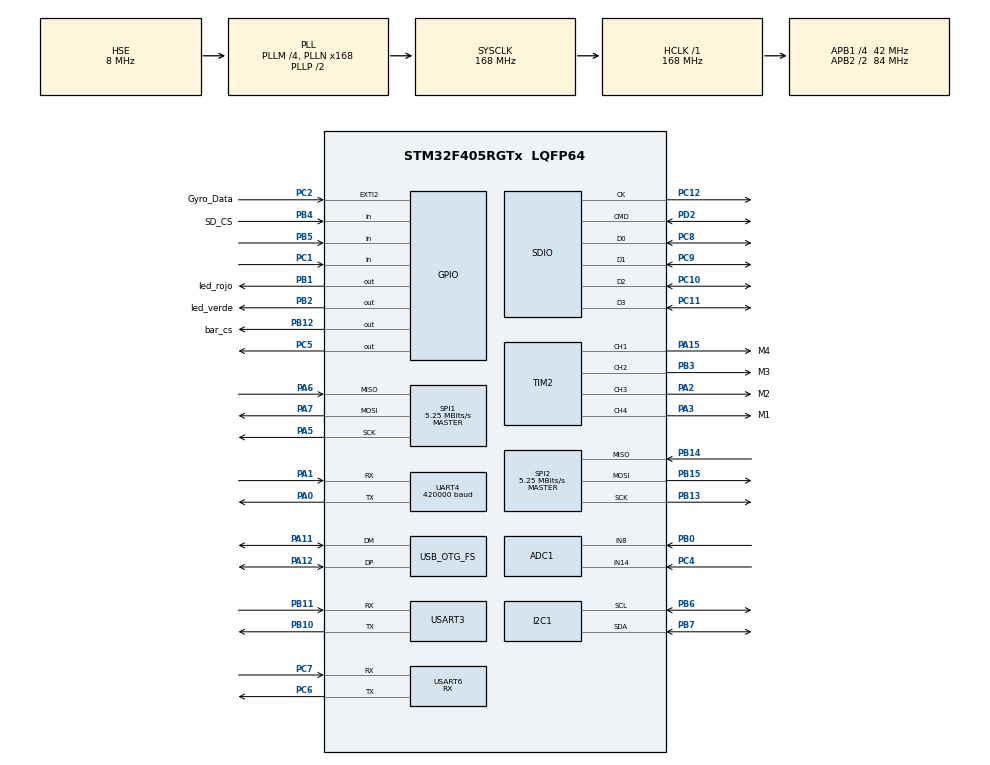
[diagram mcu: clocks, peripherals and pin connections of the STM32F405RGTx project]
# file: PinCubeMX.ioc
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ADC1.Channel-6\#ChannelRegularConversion=ADC_CHANNEL_8
ADC1.NbrOfConversionFlag=1
ADC1.Rank-6\#ChannelRegularConversion=1
ADC1.SamplingTime-6\#ChannelRegularConversion=ADC_SAMPLETIME_3CYCLES
ADC1.master=1
Dma.Request0=TIM2_UP/CH3
Dma.Request1=SPI1_RX
Dma.Request2=SPI1_TX
Dma.Request3=SDIO_RX
Dma.Request4=SDIO_TX
Dma.Request5=TIM1_CH2
Dma.Request6=TIM1_CH4/TRIG/COM
Dma.SDIO_RX.3.Direction=DMA_PERIPH_TO_MEMORY
Dma.SDIO_RX.3.FIFOMode=DMA_FIFOMODE_ENABLE
Dma.SDIO_RX.3.FIFOThreshold=DMA_FIFO_THRESHOLD_FULL
Dma.SDIO_RX.3.Instance=DMA2_Stream6
Dma.SDIO_RX.3.MemBurst=DMA_MBURST_INC4
Dma.SDIO_RX.3.MemDataAlignment=DMA_MDATAALIGN_WORD
Dma.SDIO_RX.3.MemInc=DMA_MINC_ENABLE
Dma.SDIO_RX.3.Mode=DMA_PFCTRL
Dma.SDIO_RX.3.PeriphBurst=DMA_PBURST_INC4
Dma.SDIO_RX.3.PeriphDataAlignment=DMA_PDATAALIGN_WORD
Dma.SDIO_RX.3.PeriphInc=DMA_PINC_DISABLE
Dma.SDIO_RX.3.Priority=DMA_PRIORITY_LOW
Dma.SDIO_TX.4.Direction=DMA_MEMORY_TO_PERIPH
Dma.SDIO_TX.4.FIFOMode=DMA_FIFOMODE_ENABLE
Dma.SDIO_TX.4.FIFOThreshold=DMA_FIFO_THRESHOLD_FULL
Dma.SDIO_TX.4.Instance=DMA2_Stream3
Dma.SDIO_TX.4.MemBurst=DMA_MBURST_INC4
Dma.SDIO_TX.4.MemDataAlignment=DMA_MDATAALIGN_WORD
Dma.SDIO_TX.4.MemInc=DMA_MINC_ENABLE
Dma.SDIO_TX.4.Mode=DMA_PFCTRL
Dma.SDIO_TX.4.PeriphBurst=DMA_PBURST_INC4
Dma.SDIO_TX.4.PeriphDataAlignment=DMA_PDATAALIGN_WORD
Dma.SDIO_TX.4.PeriphInc=DMA_PINC_DISABLE
Dma.SDIO_TX.4.Priority=DMA_PRIORITY_LOW
Dma.SPI1_RX.1.Direction=DMA_PERIPH_TO_MEMORY
Dma.SPI1_RX.1.FIFOMode=DMA_FIFOMODE_DISABLE
Dma.SPI1_RX.1.Instance=DMA2_Stream0
Dma.SPI1_RX.1.MemDataAlignment=DMA_MDATAALIGN_BYTE
Dma.SPI1_RX.1.MemInc=DMA_MINC_ENABLE
Dma.SPI1_RX.1.Mode=DMA_NORMAL
Dma.SPI1_RX.1.PeriphDataAlignment=DMA_PDATAALIGN_BYTE
Dma.SPI1_RX.1.PeriphInc=DMA_PINC_DISABLE
Dma.SPI1_RX.1.Priority=DMA_PRIORITY_HIGH
Dma.SPI1_TX.2.Direction=DMA_MEMORY_TO_PERIPH
Dma.SPI1_TX.2.FIFOMode=DMA_FIFOMODE_DISABLE
Dma.SPI1_TX.2.Instance=DMA2_Stream5
Dma.SPI1_TX.2.MemDataAlignment=DMA_MDATAALIGN_BYTE
Dma.SPI1_TX.2.MemInc=DMA_MINC_ENABLE
Dma.SPI1_TX.2.Mode=DMA_NORMAL
Dma.SPI1_TX.2.PeriphDataAlignment=DMA_PDATAALIGN_BYTE
Dma.SPI1_TX.2.PeriphInc=DMA_PINC_DISABLE
Dma.SPI1_TX.2.Priority=DMA_PRIORITY_HIGH
Dma.TIM1_CH2.5.Direction=DMA_MEMORY_TO_PERIPH
Dma.TIM1_CH2.5.FIFOMode=DMA_FIFOMODE_DISABLE
Dma.TIM1_CH2.5.Instance=DMA2_Stream2
Dma.TIM1_CH2.5.MemDataAlignment=DMA_MDATAALIGN_WORD
Dma.TIM1_CH2.5.MemInc=DMA_MINC_ENABLE
Dma.TIM1_CH2.5.Mode=DMA_NORMAL
Dma.TIM1_CH2.5.PeriphDataAlignment=DMA_PDATAALIGN_WORD
Dma.TIM1_CH2.5.PeriphInc=DMA_PINC_DISABLE
Dma.TIM1_CH2.5.Priority=DMA_PRIORITY_VERY_HIGH
Dma.TIM1_CH4/TRIG/COM.6.Direction=DMA_MEMORY_TO_PERIPH
Dma.TIM1_CH4/TRIG/COM.6.FIFOMode=DMA_FIFOMODE_DISABLE
Dma.TIM1_CH4/TRIG/COM.6.Instance=DMA2_Stream4
Dma.TIM1_CH4/TRIG/COM.6.MemDataAlignment=DMA_MDATAALIGN_WORD
Dma.TIM1_CH4/TRIG/COM.6.MemInc=DMA_MINC_ENABLE
Dma.TIM1_CH4/TRIG/COM.6.Mode=DMA_NORMAL
Dma.TIM1_CH4/TRIG/COM.6.PeriphDataAlignment=DMA_PDATAALIGN_WORD
Dma.TIM1_CH4/TRIG/COM.6.PeriphInc=DMA_PINC_DISABLE
Dma.TIM1_CH4/TRIG/COM.6.Priority=DMA_PRIORITY_VERY_HIGH
Dma.TIM2_UP/CH3.0.Direction=DMA_MEMORY_TO_PERIPH
Dma.TIM2_UP/CH3.0.FIFOMode=DMA_FIFOMODE_DISABLE
Dma.TIM2_UP/CH3.0.Instance=DMA1_Stream1
Dma.TIM2_UP/CH3.0.MemDataAlignment=DMA_MDATAALIGN_WORD
Dma.TIM2_UP/CH3.0.MemInc=DMA_MINC_ENABLE
Dma.TIM2_UP/CH3.0.Mode=DMA_NORMAL
Dma.TIM2_UP/CH3.0.PeriphDataAlignment=DMA_PDATAALIGN_WORD
Dma.TIM2_UP/CH3.0.PeriphInc=DMA_PINC_DISABLE
Dma.TIM2_UP/CH3.0.Priority=DMA_PRIORITY_VERY_HIGH
FATFS.BSP.number=1
FATFS.USE_DMA_CODE_SD=1
FATFS0.BSP.STBoard=false
FATFS0.BSP.api=Unknown
FATFS0.BSP.instance=PB4
FATFS0.BSP.ip=GPIO
FATFS0.BSP.mode=Input
FATFS0.BSP.name=Detect_SDIO
FATFS0.BSP.solution=PB4
I2C1.I2C_Mode=I2C_Standard
Mcu.Family=STM32F4
Mcu.Name=STM32F405RGTx
Mcu.Package=LQFP64
NVIC.DMA1_Stream1_IRQn=true\:0\:0\:false\:false\:true\:false\:true\:true
NVIC.DMA2_Stream0_IRQn=true\:0\:0\:false\:false\:true\:false\:true\:true
NVIC.DMA2_Stream2_IRQn=true\:0\:0\:false\:false\:true\:false\:true\:true
NVIC.DMA2_Stream3_IRQn=true\:7\:0\:true\:false\:true\:false\:true\:true
NVIC.DMA2_Stream4_IRQn=true\:0\:0\:false\:false\:true\:false\:true\:true
NVIC.DMA2_Stream5_IRQn=true\:0\:0\:false\:false\:true\:false\:true\:true
NVIC.DMA2_Stream6_IRQn=true\:7\:0\:true\:false\:true\:false\:true\:true
NVIC.EXTI2_IRQn=true\:5\:0\:true\:false\:true\:true\:true\:true
NVIC.OTG_FS_IRQn=true\:0\:0\:false\:false\:true\:false\:true\:true
NVIC.PriorityGroup=NVIC_PRIORITYGROUP_4
NVIC.SDIO_IRQn=true\:6\:0\:true\:false\:true\:true\:true\:true
PA0-WKUP.Mode=Asynchronous
PA0-WKUP.Signal=UART4_TX
PA1.Mode=Asynchronous
PA1.Signal=UART4_RX
PA11.Mode=Device_Only
PA11.Signal=USB_OTG_FS_DM
PA12.Mode=Device_Only
PA12.Signal=USB_OTG_FS_DP
PA13.Mode=Serial_Wire
PA13.Signal=SYS_JTMS-SWDIO
PA14.Mode=Serial_Wire
PA14.Signal=SYS_JTCK-SWCLK
PA15.GPIO_Label=M4
PA15.Signal=S_TIM2_CH1_ETR
PA2.GPIO_Label=M2
PA2.Signal=S_TIM2_CH3
PA3.GPIO_Label=M1
PA3.Signal=S_TIM2_CH4
PA5.Mode=Full_Duplex_Master
PA5.Signal=SPI1_SCK
PA6.Mode=Full_Duplex_Master
PA6.Signal=SPI1_MISO
PA7.Mode=Full_Duplex_Master
PA7.Signal=SPI1_MOSI
PB0.Signal=ADCx_IN8
PB1.GPIO_Label=led_rojo
PB1.Signal=GPIO_Output
PB10.Mode=Asynchronous
PB10.Signal=USART3_TX
PB11.Mode=Asynchronous
PB11.Signal=USART3_RX
PB12.GPIO_Label=bar_cs
PB12.GPIO_PuPd=GPIO_PULLDOWN
PB12.Signal=GPIO_Output
PB13.Mode=Full_Duplex_Master
PB13.Signal=SPI2_SCK
PB14.Mode=Full_Duplex_Master
PB14.Signal=SPI2_MISO
PB15.Mode=Full_Duplex_Master
PB15.Signal=SPI2_MOSI
PB2.GPIO_Label=led_verde
PB2.Signal=GPIO_Output
PB3.GPIO_Label=M3
PB3.Signal=S_TIM2_CH2
PB4.GPIO_Label=SD_CS
PB4.Signal=GPIO_Input
PB5.Signal=GPIO_Input
PB6.Mode=I2C
PB6.Signal=I2C1_SCL
PB7.Mode=I2C
PB7.Signal=I2C1_SDA
PC1.Signal=GPIO_Input
PC10.Mode=SD_4_bits_Wide_bus
PC10.Signal=SDIO_D2
PC11.Mode=SD_4_bits_Wide_bus
PC11.Signal=SDIO_D3
PC12.Mode=SD_4_bits_Wide_bus
PC12.Signal=SDIO_CK
PC14-OSC32_IN.Mode=LSE-External-Oscillator
PC14-OSC32_IN.Signal=RCC_OSC32_IN
PC15-OSC32_OUT.Mode=LSE-External-Oscillator
PC15-OSC32_OUT.Signal=RCC_OSC32_OUT
PC2.GPIO_Label=Gyro_Data
PC2.GPIO_PuPd=GPIO_NOPULL
PC2.Signal=GPXTI2
PC4.Signal=ADCx_IN14
PC5.Signal=GPIO_Output
PC6.Mode=Asynchronous
PC6.Signal=USART6_TX
PC7.GPIO_PuPd=GPIO_NOPULL
PC7.Mode=Asynchronous
PC7.Signal=USART6_RX
PC8.Mode=SD_4_bits_Wide_bus
PC8.Signal=SDIO_D0
PC9.Mode=SD_4_bits_Wide_bus
PC9.Signal=SDIO_D1
PD2.Mode=SD_4_bits_Wide_bus
PD2.Signal=SDIO_CMD
PH0-OSC_IN.Mode=HSE-External-Oscillator
PH0-OSC_IN.Signal=RCC_OSC_IN
PH1-OSC_OUT.Mode=HSE-External-Oscillator
PH1-OSC_OUT.Signal=RCC_OSC_OUT
ProjectManager.HeapSize=0x200
ProjectManager.StackSize=0x400
ProjectManager.TargetToolchain=STM32CubeIDE
RCC.48MHZClocksFreq_Value=48000000
RCC.AHBFreq_Value=168000000
RCC.APB1CLKDivider=RCC_HCLK_DIV4
RCC.APB1Freq_Value=42000000
RCC.APB1TimFreq_Value=84000000
RCC.APB2CLKDivider=RCC_HCLK_DIV2
RCC.APB2Freq_Value=84000000
RCC.APB2TimFreq_Value=168000000
RCC.CortexFreq_Value=168000000
RCC.HCLKFreq_Value=168000000
RCC.HSE_VALUE=8000000
RCC.HSI_VALUE=16000000
RCC.PLLM=4
RCC.PLLN=168
RCC.PLLQ=7
RCC.SYSCLKFreq_VALUE=168000000
RCC.SYSCLKSource=RCC_SYSCLKSOURCE_PLLCLK
RCC.VCOOutputFreq_Value=336000000
SDIO.ClockDiv=6
SH.ADCx_IN14.0=ADC1_IN14,IN14
SH.ADCx_IN8.0=ADC1_IN8,IN8
SH.S_TIM2_CH1_ETR.0=TIM2_CH1,PWM Generation1 CH1
SH.S_TIM2_CH2.0=TIM2_CH2,PWM Generation2 CH2
SH.S_TIM2_CH3.0=TIM2_CH3,PWM Generation3 CH3
SH.S_TIM2_CH4.0=TIM2_CH4,PWM Generation4 CH4
SPI1.BaudRatePrescaler=SPI_BAUDRATEPRESCALER_16
SPI1.CalculateBaudRate=5.25 MBits/s
SPI1.Direction=SPI_DIRECTION_2LINES
SPI1.Mode=SPI_MODE_MASTER
SPI1.VirtualType=VM_MASTER
SPI2.BaudRatePrescaler=SPI_BAUDRATEPRESCALER_8
SPI2.CalculateBaudRate=5.25 MBits/s
SPI2.Direction=SPI_DIRECTION_2LINES
SPI2.Mode=SPI_MODE_MASTER
SPI2.VirtualType=VM_MASTER
TIM1.Channel-Output\ Compare2\ No\ Output=TIM_CHANNEL_2
TIM1.Channel-Output\ Compare4\ No\ Output=TIM_CHANNEL_4
TIM2.Channel-PWM\ Generation1\ CH1=TIM_CHANNEL_1
TIM2.Channel-PWM\ Generation2\ CH2=TIM_CHANNEL_2
TIM2.Channel-PWM\ Generation3\ CH3=TIM_CHANNEL_3
TIM2.Channel-PWM\ Generation4\ CH4=TIM_CHANNEL_4
UART4.BaudRate=420000
UART4.VirtualMode=Asynchronous
USART3.VirtualMode=VM_ASYNC
USART6.Mode=MODE_RX
USART6.VirtualMode=VM_ASYNC
USB_DEVICE.CLASS_NAME_FS=CDC
USB_DEVICE.VirtualMode-CDC_FS=Cdc
USB_DEVICE.VirtualModeFS=Cdc_FS
USB_OTG_FS.VirtualMode=Device_Only
VP_FATFS_VS_SDIO.Mode=SDIO
VP_TIM1_VS_ClockSourceINT.Mode=Internal
VP_TIM1_VS_no_output2.Mode=Output Compare2 No Output
VP_TIM1_VS_no_output4.Mode=Output Compare4 No Output
VP_USB_DEVICE_VS_USB_DEVICE_CDC_FS.Mode=CDC_FS
board=custom

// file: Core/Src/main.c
/* USER CODE BEGIN Header */
/**
  ******************************************************************************
  * @file           : main.c
  * @brief          : Main program body
  ******************************************************************************
  * @attention
  *
  * Copyright (c) 2026 STMicroelectronics.
  * All rights reserved.
  *
  * This software is licensed under terms that can be found in the LICENSE file
  * in the root directory of this software component.
  * If no LICENSE file comes with this software, it is provided AS-IS.
  *
  ******************************************************************************
  */
/* USER CODE END Header */
#include "main.h"
#include "adc.h"
#include "dma.h"
#include "fatfs.h"
#include "i2c.h"
#include "sdio.h"
#include "spi.h"
#include "tim.h"
#include "usart.h"
#include "usb_device.h"
#include "gpio.h"

/* USER CODE BEGIN Includes */
#include "usbd_cdc_if.h"
#include "pinout.h"
#include "test_runner.h"
#include "fc.h"
#include <stdio.h>
#include <string.h>
/* USER CODE END Includes */

/* USER CODE BEGIN PD */
/* Constantes de pines extra: board/pinout.h. Drivers en app/drivers/. */
/* USER CODE END PD */

void SystemClock_Config(void);
/* USER CODE BEGIN PFP */
  /* Consola y drivers: app/platform y app/drivers.                             */
/* USER CODE END PFP */

int main(void)
{

  /* MCU Configuration--------------------------------------------------------*/

  /* Reset of all peripherals, Initializes the Flash interface and the Systick. */
  HAL_Init();

  /* Configure the system clock */
  SystemClock_Config();

  /* Initialize all configured peripherals */
  MX_GPIO_Init();
  MX_DMA_Init();
  MX_I2C1_Init();
  MX_SPI1_Init();
  MX_UART4_Init();
  MX_USB_DEVICE_Init();
  MX_SPI2_Init();
  MX_TIM2_Init();
  MX_ADC1_Init();
  MX_USART3_UART_Init();
  MX_USART6_UART_Init();
  MX_SDIO_SD_Init();
  MX_FATFS_Init();
  MX_TIM1_Init();
  /* USER CODE BEGIN 2 */
  /* CS de sensores SPI en alto (deselect). MX_GPIO_Init los deja en bajo.    */
  HAL_GPIO_WritePin(bar_cs_GPIO_Port, bar_cs_Pin, GPIO_PIN_SET);
  HAL_GPIO_WritePin(IMU_CS_GPIO_Port, IMU_CS_Pin, GPIO_PIN_SET);

  /* CubeMX deja EXTI2 EnableIRQ en MX_GPIO_Init() (ahora prio 5, USB es 0).
   * Igual se apaga hasta imu_init(): el IMU puede seguir generando INT1
   * tras un reset del MCU, y 8000 kHz de ISR no hace falta en el boot.   */
  HAL_NVIC_DisableIRQ(EXTI2_IRQn);
  __HAL_GPIO_EXTI_CLEAR_IT(Gyro_Data_Pin);

  /* Despacho: fc_run() por defecto, o test_runner si hay TEST_SELECT_xxx.  */
#if TEST_RUNNER_COUNT > 0
  test_runner_run();
#else
  fc_run();
#endif
  /* USER CODE END 2 */

  /* Infinite loop */
  /* USER CODE BEGIN WHILE */
  while (1)
  {
    /* test_runner_run() ya consume el control; este while queda inalcanzable.*/
    /* USER CODE END WHILE */

  }
}

void SystemClock_Config(void)
{
  RCC_OscInitTypeDef RCC_OscInitStruct = {0};
  RCC_ClkInitTypeDef RCC_ClkInitStruct = {0};

  /** Configure the main internal regulator output voltage
  */
  __HAL_RCC_PWR_CLK_ENABLE();
  __HAL_PWR_VOLTAGESCALING_CONFIG(PWR_REGULATOR_VOLTAGE_SCALE1);

  /** Initializes the RCC Oscillators according to the specified parameters
  * in the RCC_OscInitTypeDef structure.
  */
  RCC_OscInitStruct.OscillatorType = RCC_OSCILLATORTYPE_HSE;
  RCC_OscInitStruct.HSEState = RCC_HSE_ON;
  RCC_OscInitStruct.PLL.PLLState = RCC_PLL_ON;
  RCC_OscInitStruct.PLL.PLLSource = RCC_PLLSOURCE_HSE;
  RCC_OscInitStruct.PLL.PLLM = 4;
  RCC_OscInitStruct.PLL.PLLN = 168;
  RCC_OscInitStruct.PLL.PLLP = RCC_PLLP_DIV2;
  RCC_OscInitStruct.PLL.PLLQ = 7;
  if (HAL_RCC_OscConfig(&RCC_OscInitStruct) != HAL_OK)
  {
    Error_Handler();
  }

  /** Initializes the CPU, AHB and APB buses clocks
  */
  RCC_ClkInitStruct.ClockType = RCC_CLOCKTYPE_HCLK|RCC_CLOCKTYPE_SYSCLK
                              |RCC_CLOCKTYPE_PCLK1|RCC_CLOCKTYPE_PCLK2;
  RCC_ClkInitStruct.SYSCLKSource = RCC_SYSCLKSOURCE_PLLCLK;
  RCC_ClkInitStruct.AHBCLKDivider = RCC_SYSCLK_DIV1;
  RCC_ClkInitStruct.APB1CLKDivider = RCC_HCLK_DIV4;
  RCC_ClkInitStruct.APB2CLKDivider = RCC_HCLK_DIV2;

  if (HAL_RCC_ClockConfig(&RCC_ClkInitStruct, FLASH_LATENCY_5) != HAL_OK)
  {
    Error_Handler();
  }
}

void Error_Handler(void)
{
  /* USER CODE BEGIN Error_Handler_Debug */
  /* Sin __disable_irq(): apagarlas mata la ISR de USB OTG_FS y la PC no puede
   * enumerar el CDC, asi que el fallo queda invisible desde la consola.
   * Se atrapa la ejecucion y se parpadea el led rojo como senal de error.   */
  for (;;)
  {
    HAL_GPIO_TogglePin(led_rojo_GPIO_Port, led_rojo_Pin);
    HAL_Delay(100u);
  }
  /* USER CODE END Error_Handler_Debug */
}
